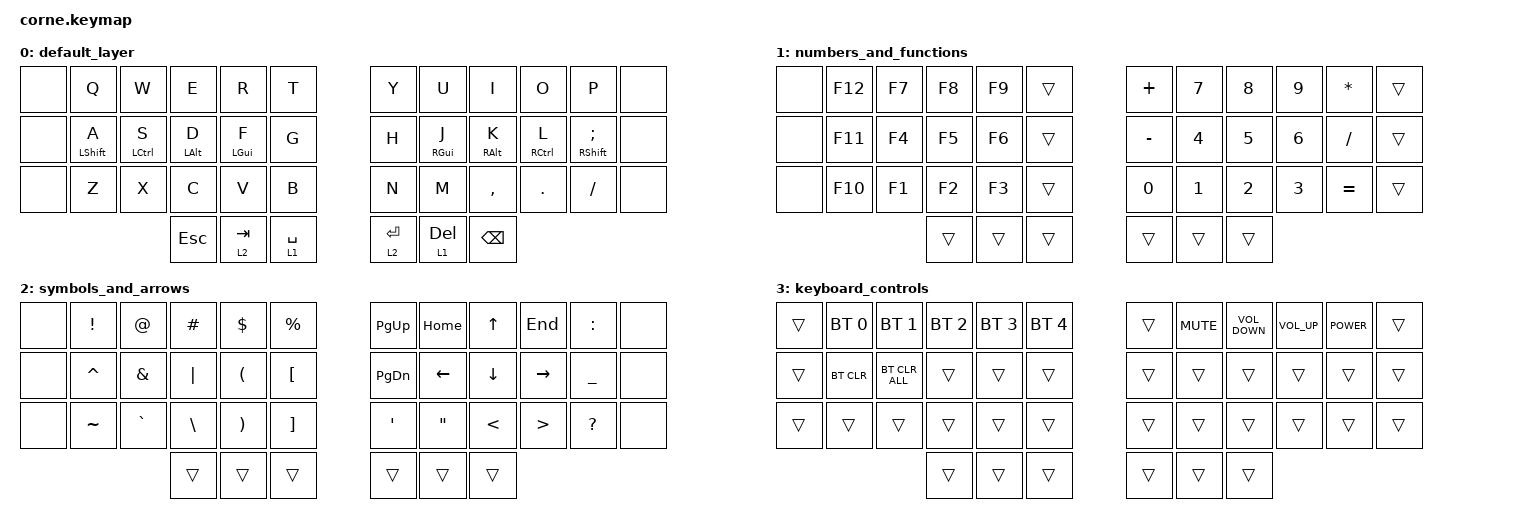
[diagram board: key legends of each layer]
/*
 * Copyright (c) 2020 The ZMK Contributors
 *
 * SPDX-License-Identifier: MIT
 */

#include <behaviors.dtsi>
#include <dt-bindings/zmk/bt.h>
#include <dt-bindings/zmk/keys.h>

/ {
    //////////////////////////////////////
    // Homerow Mods: Cross-hand Example //
    //////////////////////////////////////

    behaviors {
        rh_pht: right_positional_hold_tap {
            compatible = "zmk,behavior-hold-tap";
            #binding-cells = <2>;
            flavor = "tap-unless-interrupted";
            tapping-term-ms = <250>;                    // <---[[produces tap if held longer than tapping-term-ms]]
            quick-tap-ms = <200>;
            bindings = <&kp>, <&kp>;

            hold-trigger-key-positions = <0 1 2 3 4 5 6>;    // <---[[left-hand keys]]
        };
    };

    behaviors {
        lh_pht: left_positional_hold_tap {
            compatible = "zmk,behavior-hold-tap";
            #binding-cells = <2>;
            flavor = "tap-unless-interrupted";
            tapping-term-ms = <250>;                    // <---[[produces tap if held longer than tapping-term-ms]]
            quick-tap-ms = <200>;
            bindings = <&kp>, <&kp>;

            hold-trigger-key-positions = <5 6 7 8 9 10>;    // <---[[right-hand keys]]
        };
    };

    /////////////////////////////////////////
    // Homerow Mods: Tap-Preferred Example //
    /////////////////////////////////////////

    behaviors {
        hm: homerow_mods {
            compatible = "zmk,behavior-hold-tap";
            #binding-cells = <2>;
            tapping-term-ms = <150>;
            quick-tap-ms = <0>;
            flavor = "tap-preferred";
            bindings = <&kp>, <&kp>;
        };
    };

    //////////////////////////////////
    // Homerow Mods: Balanced Example //
    //////////////////////////////////

    behaviors {
        bhm: balanced_homerow_mods {
            compatible = "zmk,behavior-hold-tap";
            #binding-cells = <2>;
            tapping-term-ms = <500>;    // <---[[extreme duration]]
            quick-tap-ms = <0>;
            flavor = "balanced";
            bindings = <&kp>, <&kp>;
        };
    };

    combos {
        compatible = "zmk,combos";

        ESC_Combo {
            bindings = <&kp ESC>;
            key-positions = <2 3>;
        };

        Tab_Combo {
            bindings = <&kp TAB>;
            key-positions = <26 27>;
        };

        Backspace_Combo {
            bindings = <&kp BACKSPACE>;
            key-positions = <9 10>;
        };

        Delete_Combo {
            bindings = <&kp DEL>;
            key-positions = <8 9>;
        };

        Repeat_Key {
            bindings = <&key_repeat>;
            key-positions = <19 16>;
        };

        ENTER_Combo {
            bindings = <&kp ENTER>;
            key-positions = <32 33>;
        };

        SPACE_Combo {
            bindings = <&kp SPACE>;
            key-positions = <14 21>;
        };

        SPACE_Combo_2 {
            bindings = <&kp SPACE>;
            key-positions = <28 27>;
        };

        SPACE_Combo_3 {
            bindings = <&kp SPACE>;
            key-positions = <31 32>;
        };

        Keyboard_Controls {
            bindings = <&mo 3>;
            key-positions = <38 39>;
        };

        ENTER_Combo_2 {
            bindings = <&kp ENTER>;
            key-positions = <20 21>;
        };

        TAB_Combo_2 {
            bindings = <&kp TAB>;
            key-positions = <14 15>;
        };

        CAPS_Lock_Combo {
            bindings = <&kp CAPS>;
            key-positions = <36 41>;
        };
    };

    keymap {
        compatible = "zmk,keymap";

        default_layer {
            // -----------------------------------------------------------------------------------------
            // |      |  Q  |  W  |  E  |  R  |  T  |   |  Y  |  U   |  I  |  O  |  P  |      |
            // |      |  A  |  S  |  D  |  F  |  G  |   |  H  |  J   |  K  |  L  |  ;  |      |
            // |      |  Z  |  X  |  C  |  V  |  B  |   |  N  |  M   |  ,  |  .  |  /  |      |
            //                    | ESC | TAB | SPC |   | ENT | DEL  |BSPC |

            bindings = <
&none  &kp Q         &kp W         &kp E         &kp R         &kp T         &kp Y         &kp U         &kp I         &kp O         &kp P         &none
&none  &bhm LSHIFT A &bhm LCTRL S  &bhm LALT D   &bhm LGUI F   &kp G         &kp H         &bhm RGUI J   &bhm RALT K   &bhm RCTRL L  &bhm RSHIFT SEMI &none
&none  &kp Z         &kp X         &kp C         &kp V         &kp B         &kp N         &kp M         &kp COMMA     &kp DOT       &kp FSLH      &none
                                   &kp ESCAPE    &lt 2 TAB     &lt 1 SPACE   &lt 2 ENTER   &lt 1 DELETE  &kp BACKSPACE
            >;
        };

        numbers_and_functions {
            bindings = <
&none  &kp F12  &kp F7  &kp F8  &kp F9  &trans     &kp PLUS   &kp N7  &kp N8  &kp N9  &kp ASTRK  &trans
&none  &kp F11  &kp F4  &kp F5  &kp F6  &trans     &kp MINUS  &kp N4  &kp N5  &kp N6  &kp FSLH   &trans
&none  &kp F10  &kp F1  &kp F2  &kp F3  &trans     &kp N0     &kp N1  &kp N2  &kp N3  &kp EQUAL  &trans
                        &trans  &trans  &trans     &trans     &trans  &trans
            >;
        };

        symbols_and_arrows {
            bindings = <
&none  &kp EXCLAMATION  &kp AT_SIGN    &kp HASH       &kp DOLLAR             &kp PERCENT         &kp PAGE_UP        &kp HOME           &kp UP_ARROW    &kp END            &kp COLON       &none
&none  &kp CARET        &kp AMPERSAND  &kp PIPE       &kp LEFT_PARENTHESIS   &kp LEFT_BRACKET    &kp PAGE_DOWN      &kp LEFT_ARROW     &kp DOWN_ARROW  &kp RIGHT_ARROW    &kp UNDERSCORE  &none
&none  &kp TILDE        &kp GRAVE      &kp BACKSLASH  &kp RIGHT_PARENTHESIS  &kp RBKT            &kp SINGLE_QUOTE   &kp DOUBLE_QUOTES  &kp LESS_THAN   &kp GREATER_THAN   &kp QUESTION    &none
                                       &trans         &trans                 &trans              &trans             &trans             &trans
            >;
        };

        keyboard_controls {
            bindings = <
&trans  &bt BT_SEL 0  &bt BT_SEL 1    &bt BT_SEL 2  &bt BT_SEL 3  &bt BT_SEL 4    &trans  &kp C_MUTE  &kp C_VOLUME_DOWN  &kp C_VOLUME_UP  &kp C_POWER  &trans
&trans  &bt BT_CLR    &bt BT_CLR_ALL  &trans        &trans        &trans          &trans  &trans      &trans             &trans           &trans       &trans
&trans  &trans        &trans          &trans        &trans        &trans          &trans  &trans      &trans             &trans           &trans       &trans
                                      &trans        &trans        &trans          &trans  &trans      &trans
            >;
        };
    };

    conditional_layers { compatible = "zmk,conditional-layers"; };
};
